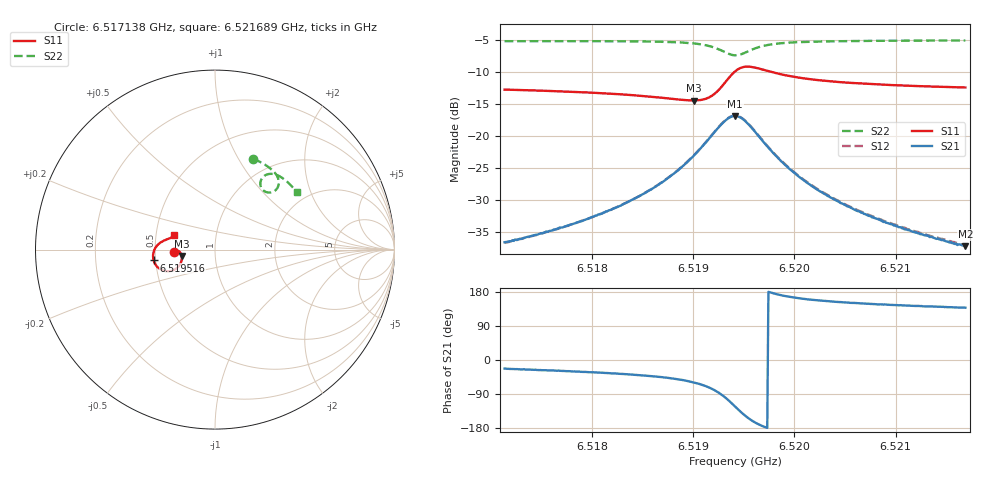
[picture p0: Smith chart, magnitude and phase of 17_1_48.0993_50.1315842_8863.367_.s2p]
#  HZ  S  RI  R  50.00
! Rohde & Schwarz Vector Network Analyzer
! Rohde-Schwarz,ZNB20-2Port,1311601062101988,3.16
! Created: UTC 12/23/2023, 3:36:16 AM
! freq[Hz]  re:S11  im:S11  re:S21  im:S21  re:S12  im:S12  re:S22  im:S22
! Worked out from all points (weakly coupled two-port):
!   401 points, 6.517138 GHz to 6.521689 GHz, reference 50 ohm
!   highest |S21| = -16.89 dB at 6.519413 GHz (marker M1); lowest = -37.2 dB at 6.521689 GHz (marker M2)
!   lowest |S11| = -14.5 dB at 6.519004 GHz (marker M3), VSWR 1.47, Z = 34.2 - j2.5 ohm
!   |S11| at or under -10 dB: start of sweep to 6.519408 GHz; 6.519771 GHz to end of sweep
!   |S22| runs from -7.4 to -5.1 dB; largest |S21 - S12| = 0.0044
!   S11 on the Smith chart (normalised r, x): 6.517138 GHz: 0.63, -0.02; 6.519516 GHz: 0.49, -0.07; 6.521689 GHz: 0.62, +0.10
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6.5171381e9  -0.2298 -0.0142  0.0137 -0.00571  0.0136 -0.00537  0.2139 0.5054
6.5174908e9  -0.2257 -0.0092  0.0156 -0.00771  0.0157 -0.0072  0.24 0.4939
6.5179003e9  -0.2196 -0.00483  0.0186 -0.0112  0.0191 -0.0107  0.2701 0.478
6.5182757e9  -0.2118 -0.00319  0.0229 -0.017  0.0236 -0.0162  0.2984 0.4597
6.5184577e9  -0.2068 -0.00438  0.026 -0.0216  0.0266 -0.0207  0.3124 0.4488
6.5186625e9  -0.1998 -0.00882  0.0299 -0.0294  0.031 -0.0286  0.3286 0.4336
6.5188559e9  -0.1918 -0.0189  0.0341 -0.0424  0.0357 -0.0417  0.3437 0.4139
6.5190038e9  -0.186 -0.0352  0.0359 -0.0601  0.038 -0.0592  0.3533 0.3922
6.5191062e9  -0.1854 -0.0547  0.0331 -0.0788  0.0358 -0.0784  0.3556 0.3711
6.5191972e9  -0.1934 -0.08  0.0221 -0.1017  0.0254 -0.1018  0.3498 0.3475
6.5193223e9  -0.2383 -0.1172  -0.0234 -0.1309  -0.0198 -0.1326  0.3144 0.3189
6.5194133e9  -0.2982 -0.1127  -0.077 -0.1207  -0.0741 -0.1238  0.2726 0.3273
6.5194588e9  -0.324 -0.0933  -0.0978 -0.1008  -0.0954 -0.1044  0.2582 0.3444
6.5195157e9  -0.3419 -0.0605  -0.11 -0.0704  -0.1088 -0.0741  0.2524 0.3698
6.5196295e9  -0.339 -0.00436  -0.1012 -0.0224  -0.1014 -0.0254  0.2699 0.4066
6.5197432e9  -0.3194 0.0259  -0.0811 0.000308  -0.0818 -0.00206  0.2956 0.4202
6.519948e9  -0.2902 0.0474  -0.0543 0.0126  -0.0554 0.0112  0.3318 0.4196
6.5201755e9  -0.2706 0.056  -0.0378 0.0146  -0.0388 0.0138  0.359 0.409
6.5204827e9  -0.2548 0.062  -0.0261 0.0138  -0.0267 0.0131  0.3856 0.3917
6.5209377e9  -0.2406 0.0686  -0.0172 0.0118  -0.0178 0.0114  0.416 0.3644
6.5212221e9  -0.2343 0.0724  -0.0139 0.0106  -0.0145 0.0105  0.4323 0.3472
6.5216885e9  -0.2258 0.0788  -0.0103 0.00927  -0.0108 0.00908  0.4559 0.3184
